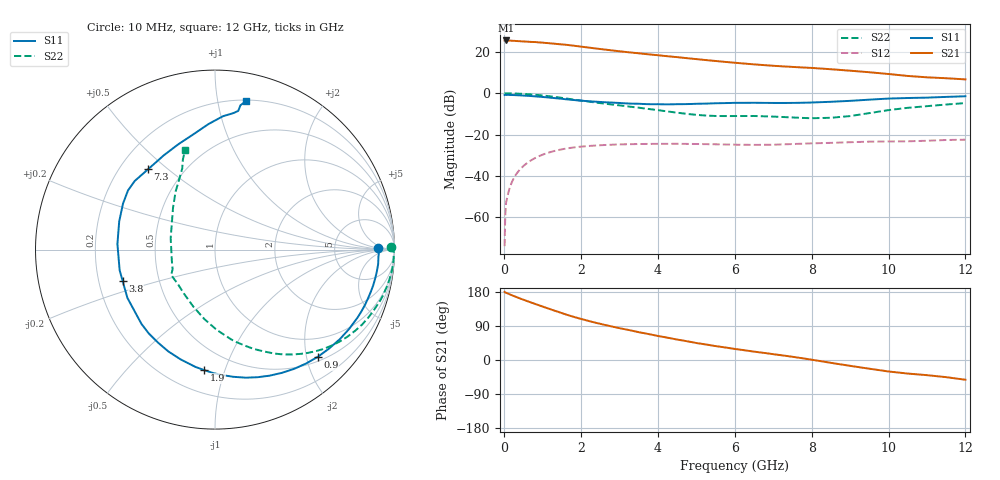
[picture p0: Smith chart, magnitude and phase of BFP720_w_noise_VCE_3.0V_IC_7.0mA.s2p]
! Infineon Technologies  Discrete & RF Semiconductors
! BFP720
! VCE =  3.0 V,  IC =  7.0 mA
! Common Emitter S-Parameters:  Aug 2012
# GHz  S  MA  R  50
!  f  S11  S21  S12  S22
! GHz  MAG  ANG  MAG  ANG  MAG  ANG  MAG  ANG
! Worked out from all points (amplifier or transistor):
!   105 points, 10 MHz to 12 GHz, reference 50 ohm
!   highest |S21| = 25.5 dB at 50 MHz (marker M1)
!   |S21| within 3 dB of that: start of sweep to 2.006 GHz
!   unconditionally stable (mu >= 1): start of sweep to 12.3 MHz; 6.098 GHz to 11.35 GHz
!   at 300 MHz: K = 0.07, MSG = 32.4 dB, |S12| = -39.5 dB
!   at 3.6 GHz: K = 0.58, MSG = 21.8 dB, |S12| = -24.5 dB
!   at 12 GHz: K = 0.80, MSG = 14.6 dB, |S12| = -22.5 dB
!   lowest NFmin = 0.44 dB at 450 MHz
!   S11 on the Smith chart (normalised r, x): 10 MHz: 20, +1; 900 MHz: 0.58, -2.22; 1.9 GHz: 0.35, -0.85; 3.8 GHz: 0.30, -0.15; 7.3 GHz: 0.32, +0.43; 12 GHz: 0.21, +1.21
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0.01  0.9066 0.4  18.82 179.9  0.0002 11.2  0.979 1.0
0.02  0.9136 -0.9  18.74 178.4  0.0006 92.5  0.9959 -0.5
0.05  0.9114 -2.5  18.93 177.2  0.0023 85.7  0.9964 -1.6
0.25  0.9036 -12.8  18.55 168.8  0.0089 81.9  0.9889 -8.5
0.45  0.8852 -23.0  18.02 160.9  0.0157 76.2  0.9698 -15.4
0.9  0.8276 -46.2  17.02 144.5  0.0299 63.1  0.9023 -30.1
1.3  0.7654 -66.6  15.82 130.5  0.04 52.0  0.8194 -42.5
1.6  0.716 -81.8  14.92 120.3  0.0458 44.6  0.7509 -50.7
1.9  0.6739 -95.2  13.79 111.2  0.05 38.0  0.6853 -58.2
2.1  0.6505 -103.3  13.06 105.7  0.0521 34.2  0.6454 -62.5
2.4  0.6242 -114.6  12.05 97.8  0.0546 29.0  0.5931 -68.8
2.8  0.5953 -128.3  10.89 88.4  0.057 23.3  0.5343 -76.2
3.5  0.5573 -151.1  9.262 73.4  0.0592 15.4  0.4474 -88.8
3.8  0.5435 -161.0  8.659 67.6  0.0595 12.6  0.412 -94.5
4.1  0.5406 -170.9  8.126 61.6  0.0598 10.0  0.3794 -101.0
5  0.5565 163.5  6.702 44.8  0.0592 3.5  0.3005 -125.0
6.1  0.586 144.5  5.368 27.8  0.0569 -0.2  0.281 -147.1
7.3  0.5826 129.8  4.444 11.3  0.0582 0.4  0.2649 -153.9
8.5  0.6217 109.1  3.812 -7.5  0.0631 -2.4  0.2549 165.6
9.5  0.7002 93.0  3.223 -23.0  0.0675 -6.1  0.3307 135.0
10.5  0.7676 82.3  2.623 -35.8  0.0688 -9.9  0.4442 116.4
12  0.8454 78.2  2.166 -52.1  0.0754 -16.2  0.5786 106.7
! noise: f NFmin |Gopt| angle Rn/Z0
0.45  0.44  0.4  3  -0.03
1.8  0.52  0.37  23  0.13
2.4  0.57  0.28  50  0.26
5.5  0.71  0.17  49  0.16
10  0.94  0.39  -86  0.2
